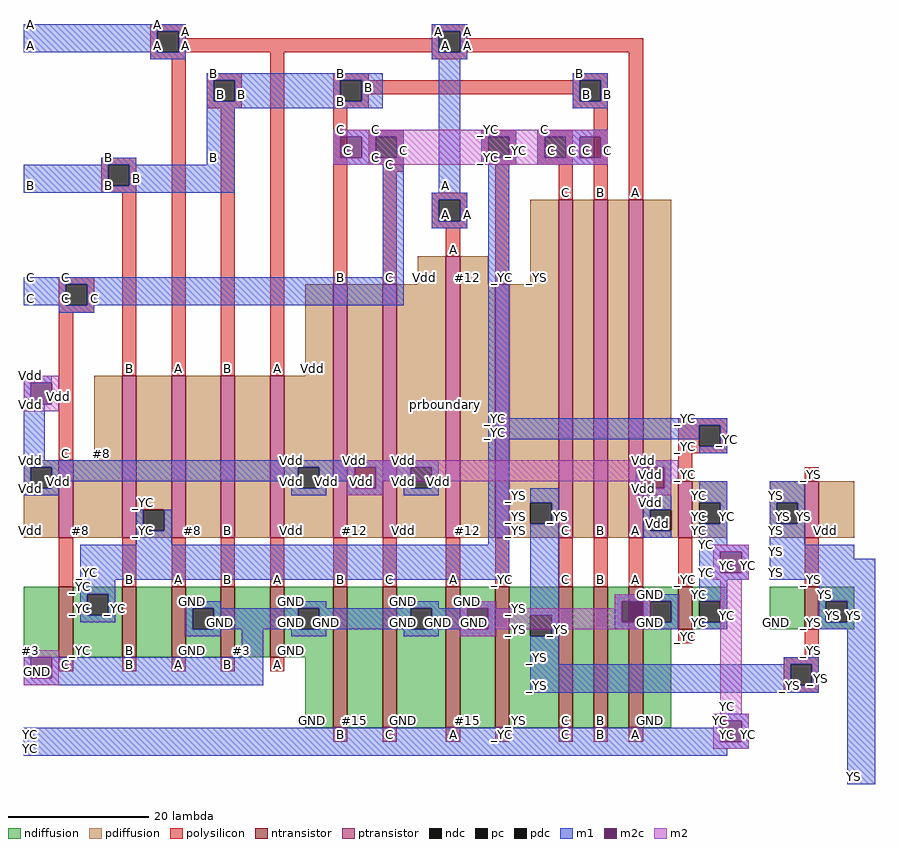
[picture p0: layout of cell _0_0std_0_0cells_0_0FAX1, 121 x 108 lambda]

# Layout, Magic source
magic
tech sky130l
<< ndiffusion >>
rect 8 22 13 32
rect 15 31 22 32
rect 15 28 17 31
rect 20 28 22 31
rect 15 22 22 28
rect 24 22 29 32
rect 31 29 36 32
rect 31 26 32 29
rect 35 26 36 29
rect 31 22 36 26
rect 38 22 43 32
rect 45 29 52 32
rect 45 26 47 29
rect 50 26 52 29
rect 45 22 52 26
rect 48 12 52 22
rect 54 12 59 32
rect 61 29 68 32
rect 61 26 63 29
rect 66 26 68 29
rect 61 12 68 26
rect 70 12 75 32
rect 77 28 84 32
rect 77 25 80 28
rect 83 25 84 28
rect 77 12 84 25
rect 86 12 89 32
rect 91 12 94 32
rect 96 30 101 32
rect 96 27 97 30
rect 100 27 101 30
rect 96 26 101 27
rect 103 30 108 32
rect 103 27 104 30
rect 107 27 108 30
rect 103 26 108 27
rect 114 26 119 32
rect 121 30 126 32
rect 121 27 122 30
rect 125 27 126 30
rect 121 26 126 27
rect 96 12 100 26
<< ndc >>
rect 17 28 20 31
rect 32 26 35 29
rect 47 26 50 29
rect 63 26 66 29
rect 80 25 83 28
rect 97 27 100 30
rect 104 27 107 30
rect 122 27 125 30
<< ntransistor >>
rect 13 22 15 32
rect 22 22 24 32
rect 29 22 31 32
rect 36 22 38 32
rect 43 22 45 32
rect 52 12 54 32
rect 59 12 61 32
rect 68 12 70 32
rect 75 12 77 32
rect 84 12 86 32
rect 89 12 91 32
rect 94 12 96 32
rect 101 26 103 32
rect 119 26 121 32
<< pdiffusion >>
rect 64 75 68 79
rect 48 62 52 75
rect 18 50 22 62
rect 8 49 13 50
rect 8 46 9 49
rect 12 46 13 49
rect 8 39 13 46
rect 15 39 22 50
rect 24 43 29 62
rect 24 40 25 43
rect 28 40 29 43
rect 24 39 29 40
rect 31 39 36 62
rect 38 39 43 62
rect 45 49 52 62
rect 45 46 47 49
rect 50 46 52 49
rect 45 39 52 46
rect 54 39 59 75
rect 61 49 68 75
rect 61 46 63 49
rect 66 46 68 49
rect 61 39 68 46
rect 70 75 74 79
rect 80 75 84 87
rect 70 39 75 75
rect 77 44 84 75
rect 77 41 80 44
rect 83 41 84 44
rect 77 39 84 41
rect 86 39 89 87
rect 91 39 94 87
rect 96 47 100 87
rect 96 43 101 47
rect 96 40 97 43
rect 100 40 101 43
rect 96 39 101 40
rect 103 44 108 47
rect 103 41 104 44
rect 107 41 108 44
rect 103 39 108 41
rect 114 44 119 47
rect 114 41 115 44
rect 118 41 119 44
rect 114 39 119 41
rect 121 39 126 47
<< pdc >>
rect 9 46 12 49
rect 25 40 28 43
rect 47 46 50 49
rect 63 46 66 49
rect 80 41 83 44
rect 97 40 100 43
rect 104 41 107 44
rect 115 41 118 44
<< ptransistor >>
rect 13 39 15 50
rect 22 39 24 62
rect 29 39 31 62
rect 36 39 38 62
rect 43 39 45 62
rect 52 39 54 75
rect 59 39 61 75
rect 68 39 70 79
rect 75 39 77 75
rect 84 39 86 87
rect 89 39 91 87
rect 94 39 96 87
rect 101 39 103 47
rect 119 39 121 47
<< polysilicon >>
rect 26 111 31 112
rect 26 108 27 111
rect 30 110 31 111
rect 66 111 71 112
rect 66 110 67 111
rect 30 108 67 110
rect 70 110 71 111
rect 70 108 96 110
rect 26 107 31 108
rect 19 92 24 93
rect 19 89 20 92
rect 23 89 24 92
rect 19 88 24 89
rect 13 75 18 76
rect 13 72 14 75
rect 17 72 18 75
rect 13 71 18 72
rect 13 50 15 71
rect 22 62 24 88
rect 29 62 31 107
rect 34 104 39 105
rect 34 101 35 104
rect 38 101 39 104
rect 34 100 39 101
rect 36 62 38 100
rect 43 62 45 108
rect 66 107 71 108
rect 52 104 57 105
rect 86 104 91 105
rect 52 101 53 104
rect 56 102 87 104
rect 56 101 57 102
rect 52 100 57 101
rect 86 101 87 102
rect 90 101 91 104
rect 86 100 91 101
rect 52 75 54 100
rect 57 96 62 97
rect 57 93 58 96
rect 61 93 62 96
rect 57 92 62 93
rect 73 96 78 97
rect 73 93 74 96
rect 77 93 78 96
rect 73 92 78 93
rect 81 96 86 97
rect 81 93 82 96
rect 85 93 86 96
rect 81 92 86 93
rect 59 91 62 92
rect 59 75 61 91
rect 66 87 71 88
rect 66 84 67 87
rect 70 84 71 87
rect 66 83 71 84
rect 68 79 70 83
rect 75 75 77 92
rect 84 87 86 92
rect 89 87 91 100
rect 94 87 96 108
rect 101 55 108 56
rect 101 52 104 55
rect 107 52 108 55
rect 101 51 108 52
rect 101 47 103 51
rect 119 47 121 49
rect 13 32 15 39
rect 22 32 24 39
rect 29 32 31 39
rect 36 32 38 39
rect 43 32 45 39
rect 52 32 54 39
rect 59 32 61 39
rect 68 32 70 39
rect 75 32 77 39
rect 84 32 86 39
rect 89 32 91 39
rect 94 32 96 39
rect 101 32 103 39
rect 119 32 121 39
rect 13 20 15 22
rect 22 20 24 22
rect 29 20 31 22
rect 36 20 38 22
rect 43 20 45 22
rect 101 24 103 26
rect 119 22 121 26
rect 116 21 121 22
rect 116 18 117 21
rect 120 18 121 21
rect 116 17 121 18
rect 52 10 54 12
rect 59 10 61 12
rect 68 10 70 12
rect 75 10 77 12
rect 84 10 86 12
rect 89 10 91 12
rect 94 10 96 12
<< pc >>
rect 27 108 30 111
rect 67 108 70 111
rect 20 89 23 92
rect 14 72 17 75
rect 35 101 38 104
rect 53 101 56 104
rect 87 101 90 104
rect 58 93 61 96
rect 74 93 77 96
rect 82 93 85 96
rect 67 84 70 87
rect 104 52 107 55
rect 117 18 120 21
<< m1 >>
rect 8 111 31 112
rect 8 108 27 111
rect 30 108 31 111
rect 26 107 31 108
rect 66 111 71 112
rect 66 108 67 111
rect 70 108 71 111
rect 66 107 71 108
rect 34 104 59 105
rect 34 101 35 104
rect 38 101 53 104
rect 56 101 59 104
rect 34 100 59 101
rect 19 92 24 93
rect 34 92 38 100
rect 52 96 62 97
rect 52 93 53 96
rect 56 93 58 96
rect 61 93 62 96
rect 52 92 62 93
rect 8 89 20 92
rect 23 89 38 92
rect 8 88 38 89
rect 59 76 62 92
rect 67 88 70 107
rect 86 104 91 105
rect 86 101 87 104
rect 90 101 91 104
rect 86 100 91 101
rect 73 96 78 97
rect 73 93 74 96
rect 77 93 78 96
rect 73 92 78 93
rect 81 96 91 97
rect 81 93 82 96
rect 85 93 87 96
rect 90 93 91 96
rect 81 92 91 93
rect 66 87 71 88
rect 66 84 67 87
rect 70 84 71 87
rect 66 83 71 84
rect 8 75 62 76
rect 8 72 14 75
rect 17 72 62 75
rect 13 71 18 72
rect 8 61 12 62
rect 8 58 9 61
rect 8 50 11 58
rect 74 56 77 92
rect 74 55 108 56
rect 74 53 104 55
rect 8 49 67 50
rect 8 46 9 49
rect 12 47 47 49
rect 12 46 13 47
rect 8 45 13 46
rect 46 46 47 47
rect 50 47 55 49
rect 50 46 51 47
rect 46 45 51 46
rect 54 46 55 47
rect 58 47 63 49
rect 58 46 59 47
rect 54 45 59 46
rect 62 46 63 47
rect 66 46 67 49
rect 62 45 67 46
rect 24 40 25 43
rect 28 40 29 43
rect 24 38 29 40
rect 74 38 77 53
rect 107 52 108 55
rect 104 51 108 52
rect 95 49 100 50
rect 95 46 96 49
rect 99 46 100 49
rect 16 33 77 38
rect 80 44 84 46
rect 95 45 100 46
rect 83 41 84 44
rect 16 31 21 33
rect 16 28 17 31
rect 20 28 21 31
rect 16 27 21 28
rect 31 29 36 30
rect 46 29 51 30
rect 62 29 67 30
rect 70 29 75 30
rect 31 26 32 29
rect 35 26 47 29
rect 50 26 63 29
rect 66 26 71 29
rect 74 26 75 29
rect 31 25 36 26
rect 39 22 42 26
rect 46 25 51 26
rect 62 25 67 26
rect 70 25 75 26
rect 80 28 84 41
rect 96 43 100 45
rect 96 40 97 43
rect 96 39 100 40
rect 104 44 108 47
rect 107 41 108 44
rect 104 38 108 41
rect 114 44 119 47
rect 114 41 115 44
rect 118 41 119 44
rect 114 38 119 41
rect 104 37 111 38
rect 104 34 107 37
rect 110 34 111 37
rect 104 33 111 34
rect 114 36 126 38
rect 114 33 129 36
rect 83 25 84 28
rect 92 30 101 31
rect 92 27 93 30
rect 96 27 97 30
rect 100 27 101 30
rect 92 26 101 27
rect 104 30 108 33
rect 107 27 108 30
rect 104 26 108 27
rect 121 30 129 33
rect 121 27 122 30
rect 125 27 129 30
rect 121 26 129 27
rect 8 19 9 22
rect 12 19 42 22
rect 8 18 42 19
rect 80 21 84 25
rect 116 21 121 22
rect 80 18 117 21
rect 120 18 121 21
rect 80 17 121 18
rect 106 13 111 14
rect 106 12 107 13
rect 8 10 107 12
rect 110 10 111 13
rect 8 9 111 10
rect 8 8 108 9
rect 125 4 129 26
<< m2c >>
rect 53 93 56 96
rect 87 93 90 96
rect 9 58 12 61
rect 55 46 58 49
rect 96 46 99 49
rect 71 26 74 29
rect 107 34 110 37
rect 93 27 96 30
rect 9 19 12 22
rect 107 10 110 13
<< m2 >>
rect 52 96 91 97
rect 52 93 53 96
rect 56 93 87 96
rect 90 93 91 96
rect 52 92 91 93
rect 8 61 13 62
rect 8 58 9 61
rect 12 58 13 61
rect 8 57 13 58
rect 54 49 101 50
rect 54 46 55 49
rect 58 47 96 49
rect 58 46 59 47
rect 54 45 59 46
rect 95 46 96 47
rect 99 47 101 49
rect 99 46 100 47
rect 95 45 100 46
rect 106 37 111 38
rect 106 34 107 37
rect 110 34 111 37
rect 106 33 111 34
rect 92 30 97 31
rect 70 29 75 30
rect 92 29 93 30
rect 70 26 71 29
rect 74 27 93 29
rect 96 27 97 30
rect 74 26 97 27
rect 70 25 75 26
rect 8 22 13 23
rect 8 19 9 22
rect 12 19 13 22
rect 8 18 13 19
rect 107 14 110 33
rect 106 13 111 14
rect 106 10 107 13
rect 110 10 111 13
rect 106 9 111 10
<< labels >>
rlabel space 0 0 136 116 6 prboundary
rlabel polysilicon 102 33 102 33 3 _YC
rlabel polysilicon 95 33 95 33 3 A
rlabel polysilicon 90 33 90 33 3 B
rlabel polysilicon 85 33 85 33 3 C
rlabel pdiffusion 104 40 104 40 3 YC
rlabel pdiffusion 104 42 104 42 3 YC
rlabel pdiffusion 104 45 104 45 3 YC
rlabel pdiffusion 101 41 101 41 3 Vdd
rlabel polysilicon 102 48 102 48 3 _YC
rlabel polysilicon 102 52 102 52 3 _YC
rlabel polysilicon 102 53 102 53 3 _YC
rlabel polysilicon 102 56 102 56 3 _YC
rlabel polysilicon 95 88 95 88 3 A
rlabel ptransistor 102 40 102 40 3 _YC
rlabel polysilicon 69 80 69 80 3 A
rlabel pdiffusion 97 48 97 48 3 Vdd
rlabel polysilicon 90 88 90 88 3 B
rlabel ptransistor 95 40 95 40 3 A
rlabel pdiffusion 65 76 65 76 3 Vdd
rlabel pdiffusion 122 40 122 40 3 Vdd
rlabel polysilicon 76 33 76 33 3 _YC
rlabel polysilicon 85 88 85 88 3 C
rlabel polysilicon 67 111 67 111 3 A
rlabel ntransistor 120 27 120 27 3 _YS
rlabel polysilicon 120 33 120 33 3 _YS
rlabel ptransistor 120 40 120 40 3 _YS
rlabel polysilicon 120 48 120 48 3 _YS
rlabel ptransistor 90 40 90 40 3 B
rlabel polysilicon 60 76 60 76 3 C
rlabel polysilicon 60 92 60 92 3 C
rlabel ndiffusion 115 27 115 27 3 GND
rlabel pdiffusion 115 40 115 40 3 YS
rlabel polysilicon 69 33 69 33 3 A
rlabel pdiffusion 81 76 81 76 3 _YS
rlabel polysilicon 58 93 58 93 3 C
rlabel polysilicon 58 94 58 94 3 C
rlabel polysilicon 58 97 58 97 3 C
rlabel polysilicon 120 23 120 23 3 _YS
rlabel ptransistor 85 40 85 40 3 C
rlabel polysilicon 57 103 57 103 3 B
rlabel polysilicon 117 18 117 18 3 _YS
rlabel polysilicon 117 19 117 19 3 _YS
rlabel polysilicon 102 25 102 25 3 _YC
rlabel ndiffusion 104 27 104 27 3 YC
rlabel ndiffusion 104 28 104 28 3 YC
rlabel ndiffusion 104 31 104 31 3 YC
rlabel pdiffusion 78 40 78 40 3 _YS
rlabel pdiffusion 78 42 78 42 3 _YS
rlabel pdiffusion 78 45 78 45 3 _YS
rlabel polysilicon 76 76 76 76 3 _YC
rlabel ntransistor 102 27 102 27 3 _YC
rlabel ptransistor 76 40 76 40 3 _YC
rlabel polysilicon 53 76 53 76 3 B
rlabel polysilicon 53 101 53 101 3 B
rlabel polysilicon 53 102 53 102 3 B
rlabel polysilicon 53 105 53 105 3 B
rlabel ndiffusion 97 13 97 13 3 GND
rlabel ndiffusion 97 27 97 27 3 GND
rlabel ndiffusion 97 31 97 31 3 GND
rlabel polysilicon 60 33 60 33 3 C
rlabel pdiffusion 71 40 71 40 3 #12
rlabel pdiffusion 71 76 71 76 3 #12
rlabel pdiffusion 49 63 49 63 3 Vdd
rlabel polysilicon 95 11 95 11 3 A
rlabel ntransistor 95 13 95 13 3 A
rlabel ptransistor 69 40 69 40 3 A
rlabel polysilicon 53 33 53 33 3 B
rlabel pdiffusion 62 40 62 40 3 Vdd
rlabel pdiffusion 62 47 62 47 3 Vdd
rlabel pdiffusion 62 50 62 50 3 Vdd
rlabel polysilicon 44 63 44 63 3 A
rlabel polysilicon 90 11 90 11 3 B
rlabel ntransistor 90 13 90 13 3 B
rlabel ptransistor 60 40 60 40 3 C
rlabel pdiffusion 55 40 55 40 3 #12
rlabel polysilicon 37 63 37 63 3 B
rlabel polysilicon 71 111 71 111 3 A
rlabel polysilicon 85 11 85 11 3 C
rlabel ntransistor 85 13 85 13 3 C
rlabel ptransistor 53 40 53 40 3 B
rlabel ndiffusion 78 13 78 13 3 _YS
rlabel ndiffusion 78 26 78 26 3 _YS
rlabel ndiffusion 78 29 78 29 3 _YS
rlabel ndiffusion 46 23 46 23 3 GND
rlabel ndiffusion 46 27 46 27 3 GND
rlabel ndiffusion 46 30 46 30 3 GND
rlabel polysilicon 44 33 44 33 3 A
rlabel pdiffusion 46 40 46 40 3 Vdd
rlabel pdiffusion 46 47 46 47 3 Vdd
rlabel pdiffusion 46 50 46 50 3 Vdd
rlabel polysilicon 31 111 31 111 3 A
rlabel polysilicon 76 11 76 11 3 _YC
rlabel ntransistor 76 13 76 13 3 _YC
rlabel polysilicon 44 21 44 21 3 A
rlabel ntransistor 44 23 44 23 3 A
rlabel ptransistor 44 40 44 40 3 A
rlabel polysilicon 30 63 30 63 3 A
rlabel ndiffusion 71 13 71 13 3 #15
rlabel ndiffusion 39 23 39 23 3 #3
rlabel polysilicon 37 33 37 33 3 B
rlabel polysilicon 27 109 27 109 3 A
rlabel polysilicon 27 112 27 112 3 A
rlabel polysilicon 69 11 69 11 3 A
rlabel ntransistor 69 13 69 13 3 A
rlabel polysilicon 37 21 37 21 3 B
rlabel ntransistor 37 23 37 23 3 B
rlabel ptransistor 37 40 37 40 3 B
rlabel ndiffusion 62 13 62 13 3 GND
rlabel ndiffusion 62 27 62 27 3 GND
rlabel ndiffusion 62 30 62 30 3 GND
rlabel ndiffusion 32 23 32 23 3 GND
rlabel polysilicon 30 33 30 33 3 A
rlabel pdiffusion 32 40 32 40 3 #8
rlabel polysilicon 23 63 23 63 3 B
rlabel polysilicon 60 11 60 11 3 C
rlabel ntransistor 60 13 60 13 3 C
rlabel polysilicon 30 21 30 21 3 A
rlabel ntransistor 30 23 30 23 3 A
rlabel ptransistor 30 40 30 40 3 A
rlabel polysilicon 20 89 20 89 3 B
rlabel polysilicon 20 90 20 90 3 B
rlabel ndiffusion 55 13 55 13 3 #15
rlabel polysilicon 23 33 23 33 3 B
rlabel pdiffusion 25 40 25 40 3 _YC
rlabel pdiffusion 25 44 25 44 3 _YC
rlabel pdiffusion 19 51 19 51 3 #8
rlabel polysilicon 53 11 53 11 3 B
rlabel ntransistor 53 13 53 13 3 B
rlabel polysilicon 23 21 23 21 3 B
rlabel ntransistor 23 23 23 23 3 B
rlabel ptransistor 23 40 23 40 3 B
rlabel ndiffusion 49 13 49 13 3 GND
rlabel ndiffusion 16 23 16 23 3 _YC
rlabel ndiffusion 16 29 16 29 3 _YC
rlabel ndiffusion 16 32 16 32 3 _YC
rlabel pdiffusion 16 40 16 40 3 #8
rlabel polysilicon 14 21 14 21 3 C
rlabel ntransistor 14 23 14 23 3 C
rlabel polysilicon 14 33 14 33 3 C
rlabel ptransistor 14 40 14 40 3 C
rlabel polysilicon 14 51 14 51 3 C
rlabel polysilicon 14 73 14 73 3 C
rlabel polysilicon 14 76 14 76 3 C
rlabel ndiffusion 9 23 9 23 3 #3
rlabel pdiffusion 9 40 9 40 3 Vdd
rlabel m1 91 102 91 102 3 B
port 1 e
rlabel m1 97 44 97 44 3 Vdd
rlabel pc 88 102 88 102 3 B
port 1 e
rlabel m1 96 50 96 50 3 Vdd
rlabel m1 87 101 87 101 3 B
port 1 e
rlabel m1 87 102 87 102 3 B
port 1 e
rlabel m1 87 105 87 105 3 B
port 1 e
rlabel m1 86 94 86 94 3 C
port 2 e
rlabel m1 126 28 126 28 3 YS
port 3 e
rlabel m1 122 31 122 31 3 YS
port 3 e
rlabel pc 83 94 83 94 3 C
port 2 e
rlabel ndc 123 28 123 28 3 YS
port 3 e
rlabel m1 84 42 84 42 3 _YS
rlabel m1 82 93 82 93 3 C
port 2 e
rlabel m1 82 94 82 94 3 C
port 2 e
rlabel m1 82 97 82 97 3 C
port 2 e
rlabel m1 122 28 122 28 3 YS
port 3 e
rlabel pdc 81 42 81 42 3 _YS
rlabel m1 81 45 81 45 3 _YS
rlabel m1 78 94 78 94 3 _YC
rlabel pc 75 94 75 94 3 _YC
rlabel m1 108 28 108 28 3 YC
port 4 e
rlabel m1 75 39 75 39 3 _YC
rlabel m1 75 54 75 54 3 _YC
rlabel m1 75 56 75 56 3 _YC
rlabel m1 75 57 75 57 3 _YC
rlabel m1 71 85 71 85 3 A
port 5 e
rlabel m1 74 93 74 93 3 _YC
rlabel m1 74 94 74 94 3 _YC
rlabel m1 74 97 74 97 3 _YC
rlabel m1 71 109 71 109 3 A
port 5 e
rlabel ndc 105 28 105 28 3 YC
port 4 e
rlabel m1 119 42 119 42 3 YS
port 3 e
rlabel pc 68 85 68 85 3 A
port 5 e
rlabel m1 68 89 68 89 3 A
port 5 e
rlabel pc 68 109 68 109 3 A
port 5 e
rlabel m1 115 37 115 37 3 YS
port 3 e
rlabel pdc 116 42 116 42 3 YS
port 3 e
rlabel m1 67 47 67 47 3 Vdd
rlabel m1 67 84 67 84 3 A
port 5 e
rlabel m1 67 85 67 85 3 A
port 5 e
rlabel m1 67 88 67 88 3 A
port 5 e
rlabel m1 67 108 67 108 3 A
port 5 e
rlabel m1 67 109 67 109 3 A
port 5 e
rlabel m1 67 112 67 112 3 A
port 5 e
rlabel m1 122 27 122 27 3 YS
port 3 e
rlabel m1 101 28 101 28 3 GND
rlabel m1 115 42 115 42 3 YS
port 3 e
rlabel pdc 64 47 64 47 3 Vdd
rlabel ndc 98 28 98 28 3 GND
rlabel m1 115 34 115 34 3 YS
port 3 e
rlabel m1 115 39 115 39 3 YS
port 3 e
rlabel m1 115 45 115 45 3 YS
port 3 e
rlabel m1 63 46 63 46 3 Vdd
rlabel m1 63 47 63 47 3 Vdd
rlabel m1 105 27 105 27 3 YC
port 4 e
rlabel m1 108 42 108 42 3 YC
port 4 e
rlabel m1 108 53 108 53 3 _YC
rlabel m1 60 77 60 77 3 C
port 2 e
rlabel m1 62 94 62 94 3 C
port 2 e
rlabel m1 105 31 105 31 3 YC
port 4 e
rlabel m1 105 34 105 34 3 YC
port 4 e
rlabel m1 105 35 105 35 3 YC
port 4 e
rlabel m1 105 38 105 38 3 YC
port 4 e
rlabel m1 105 39 105 39 3 YC
port 4 e
rlabel pdc 105 42 105 42 3 YC
port 4 e
rlabel m1 105 45 105 45 3 YC
port 4 e
rlabel m1 105 52 105 52 3 _YC
rlabel pc 105 53 105 53 3 _YC
rlabel pdc 98 41 98 41 3 Vdd
rlabel m1 63 30 63 30 3 GND
rlabel pc 59 94 59 94 3 C
port 2 e
rlabel m1 93 27 93 27 3 GND
rlabel m1 93 28 93 28 3 GND
rlabel m1 97 40 97 40 3 Vdd
rlabel m1 97 41 97 41 3 Vdd
rlabel m1 84 26 84 26 3 _YS
rlabel m1 57 102 57 102 3 B
port 1 e
rlabel ndc 81 26 81 26 3 _YS
rlabel m1 81 29 81 29 3 _YS
rlabel pc 54 102 54 102 3 B
port 1 e
rlabel m1 51 47 51 47 3 Vdd
rlabel m1 51 48 51 48 3 Vdd
rlabel m1 39 102 39 102 3 B
port 1 e
rlabel pdc 48 47 48 47 3 Vdd
rlabel pc 36 102 36 102 3 B
port 1 e
rlabel m1 47 46 47 46 3 Vdd
rlabel m1 47 47 47 47 3 Vdd
rlabel m1 35 93 35 93 3 B
port 1 e
rlabel m1 35 101 35 101 3 B
port 1 e
rlabel m1 35 102 35 102 3 B
port 1 e
rlabel m1 35 105 35 105 3 B
port 1 e
rlabel m1 126 5 126 5 3 YS
port 3 e
rlabel m1 63 26 63 26 3 GND
rlabel m1 67 27 67 27 3 GND
rlabel m1 47 30 47 30 3 GND
rlabel ndc 64 27 64 27 3 GND
rlabel m1 107 13 107 13 3 YC
port 4 e
rlabel m1 47 26 47 26 3 GND
rlabel m1 51 27 51 27 3 GND
rlabel m1 32 30 32 30 3 GND
rlabel m1 29 41 29 41 3 _YC
rlabel m1 81 18 81 18 3 _YS
rlabel ndc 48 27 48 27 3 GND
rlabel pdc 26 41 26 41 3 _YC
rlabel m1 27 108 27 108 3 A
port 5 e
rlabel m1 40 23 40 23 3 GND
rlabel m1 36 27 36 27 3 GND
rlabel m1 25 39 25 39 3 _YC
rlabel m1 25 41 25 41 3 _YC
rlabel m1 117 22 117 22 3 _YS
rlabel ndc 33 27 33 27 3 GND
rlabel m1 32 26 32 26 3 GND
rlabel m1 32 27 32 27 3 GND
rlabel m1 21 29 21 29 3 _YC
rlabel m1 20 93 20 93 3 B
port 1 e
rlabel m1 121 19 121 19 3 _YS
rlabel m1 81 22 81 22 3 _YS
rlabel ndc 18 29 18 29 3 _YC
rlabel pc 118 19 118 19 3 _YS
rlabel m1 17 28 17 28 3 _YC
rlabel m1 17 29 17 29 3 _YC
rlabel m1 17 32 17 32 3 _YC
rlabel m1 17 34 17 34 3 _YC
rlabel m1 14 72 14 72 3 C
port 2 e
rlabel m1 81 19 81 19 3 _YS
rlabel m1 13 47 13 47 3 Vdd
rlabel m1 13 48 13 48 3 Vdd
rlabel m1 18 73 18 73 3 C
port 2 e
rlabel m1 24 90 24 90 3 B
port 1 e
rlabel m1 31 109 31 109 3 A
port 5 e
rlabel pdc 10 47 10 47 3 Vdd
rlabel pc 15 73 15 73 3 C
port 2 e
rlabel pc 21 90 21 90 3 B
port 1 e
rlabel pc 28 109 28 109 3 A
port 5 e
rlabel m1 9 9 9 9 3 YC
port 4 e
rlabel m1 9 10 9 10 3 YC
port 4 e
rlabel m1 9 11 9 11 3 YC
port 4 e
rlabel m1 9 46 9 46 3 Vdd
rlabel m1 9 47 9 47 3 Vdd
rlabel m1 9 50 9 50 3 Vdd
rlabel m1 9 51 9 51 3 Vdd
rlabel m1 9 73 9 73 3 C
port 2 e
rlabel m1 9 76 9 76 3 C
port 2 e
rlabel m1 9 89 9 89 3 B
port 1 e
rlabel m1 9 90 9 90 3 B
port 1 e
rlabel m1 9 109 9 109 3 A
port 5 e
rlabel m1 9 112 9 112 3 A
port 5 e
rlabel m2 111 35 111 35 3 YC
port 4 e
rlabel m2c 108 35 108 35 3 YC
port 4 e
rlabel m2 111 11 111 11 3 YC
port 4 e
rlabel m2 97 28 97 28 3 GND
rlabel m2 107 34 107 34 3 YC
port 4 e
rlabel m2 107 35 107 35 3 YC
port 4 e
rlabel m2 107 38 107 38 3 YC
port 4 e
rlabel m2 96 46 96 46 3 Vdd
rlabel m2 100 47 100 47 3 Vdd
rlabel m2 100 48 100 48 3 Vdd
rlabel m2c 108 11 108 11 3 YC
port 4 e
rlabel m2 108 15 108 15 3 YC
port 4 e
rlabel m2c 94 28 94 28 3 GND
rlabel m2c 97 47 97 47 3 Vdd
rlabel m2 107 10 107 10 3 YC
port 4 e
rlabel m2 107 11 107 11 3 YC
port 4 e
rlabel m2 107 14 107 14 3 YC
port 4 e
rlabel m2 75 27 75 27 3 GND
rlabel m2 75 28 75 28 3 GND
rlabel m2 93 30 93 30 3 GND
rlabel m2 93 31 93 31 3 GND
rlabel m2 96 47 96 47 3 Vdd
rlabel m2c 72 27 72 27 3 GND
rlabel m2 91 94 91 94 3 C
port 2 e
rlabel m2 71 26 71 26 3 GND
rlabel m2 71 27 71 27 3 GND
rlabel m2 71 30 71 30 3 GND
rlabel m2 59 47 59 47 3 Vdd
rlabel m2 59 48 59 48 3 Vdd
rlabel m2c 88 94 88 94 3 C
port 2 e
rlabel m2c 56 47 56 47 3 Vdd
rlabel m2 57 94 57 94 3 C
port 2 e
rlabel m2 55 46 55 46 3 Vdd
rlabel m2 55 47 55 47 3 Vdd
rlabel m2 55 50 55 50 3 Vdd
rlabel m2c 54 94 54 94 3 C
port 2 e
rlabel m2 13 20 13 20 3 GND
rlabel m2 13 59 13 59 3 Vdd
rlabel m2 53 93 53 93 3 C
port 2 e
rlabel m2 53 94 53 94 3 C
port 2 e
rlabel m2 53 97 53 97 3 C
port 2 e
rlabel m2c 10 20 10 20 3 GND
rlabel m2c 10 59 10 59 3 Vdd
rlabel m2 9 19 9 19 3 GND
rlabel m2 9 20 9 20 3 GND
rlabel m2 9 23 9 23 3 GND
rlabel m2 9 58 9 58 3 Vdd
rlabel m2 9 59 9 59 3 Vdd
rlabel m2 9 62 9 62 3 Vdd
<< end >>
